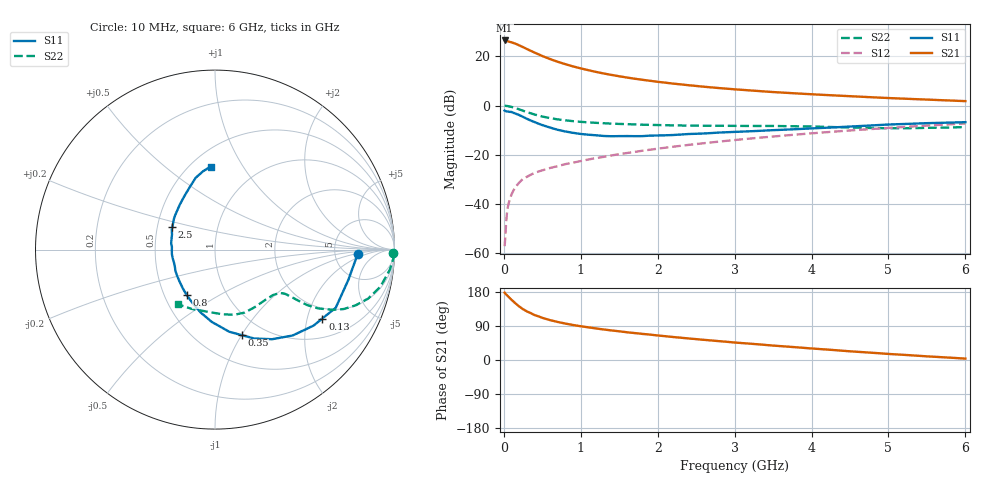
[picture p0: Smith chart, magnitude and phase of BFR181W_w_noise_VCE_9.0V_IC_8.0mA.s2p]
! Infineon Technologies  Discrete & RF Semiconductors
! BFR181W
! VCE =  9.0 V,  IC =  8.0 mA
! Common Emitter S-Parameters:  Jan 2017
# GHz  S  MA  R  50
!  f  S11  S21  S12  S22
! GHz  MAG  ANG  MAG  ANG  MAG  ANG  MAG  ANG
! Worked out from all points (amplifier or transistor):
!   77 points, 10 MHz to 6 GHz, reference 50 ohm
!   highest |S21| = 26.5 dB at 10 MHz (marker M1)
!   |S21| within 3 dB of that: start of sweep to 268.4 MHz
!   unconditionally stable (mu >= 1): 1.176 GHz to 3.174 GHz
!   at 130 MHz: K = 0.22, MSG = 29.8 dB, |S12| = -34.2 dB
!   at 2.2 GHz: K = 1.06, MAG = 11.3 dB, |S12| = -16.7 dB
!   at 6 GHz: K = 0.86, MSG = 4.5 dB, |S12| = -7.2 dB
!   lowest NFmin = 1.14 dB at 450 MHz
!   S11 on the Smith chart (normalised r, x): 10 MHz: 8.67, -1.12; 130 MHz: 1.60, -2.49; 350 MHz: 0.79, -1.00; 800 MHz: 0.65, -0.36; 2.5 GHz: 0.60, +0.16; 6 GHz: 0.62, +0.73
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0.01  0.7962 -1.7  21.14 177.6  0.0014 78.8  0.9946 -1.2
0.02  0.7777 -6.3  20.7 174.9  0.0022 96.0  0.9967 -2.4
0.05  0.7619 -12.8  20.35 169.0  0.0085 82.2  0.981 -6.5
0.1  0.7466 -25.7  19.42 158.8  0.0157 78.0  0.9448 -12.6
0.13  0.7107 -32.7  18.64 153.4  0.0196 74.5  0.9148 -15.6
0.15  0.6931 -37.7  18.21 149.6  0.0222 72.8  0.8963 -17.7
0.2  0.6451 -47.9  16.8 141.2  0.0274 69.3  0.8417 -21.7
0.25  0.592 -57.5  15.46 134.1  0.0329 65.7  0.7897 -24.8
0.3  0.5413 -66.2  14.15 128.1  0.0359 63.2  0.7396 -27.0
0.35  0.4991 -72.7  13.02 123.7  0.0396 62.1  0.7001 -28.3
0.4  0.4643 -80.2  11.98 118.5  0.0433 61.2  0.6609 -29.7
0.5  0.4035 -92.5  10.2 111.3  0.0486 60.0  0.6022 -31.0
0.6  0.3597 -102.8  8.869 105.3  0.0542 59.8  0.5595 -31.4
0.8  0.2991 -121.6  6.972 96.1  0.065 61.6  0.5036 -31.8
1.1  0.2573 -144.8  5.252 86.2  0.0808 63.4  0.4587 -32.4
1.6  0.2415 -174.2  3.731 73.2  0.1093 64.9  0.4221 -35.9
2.1  0.2503 164.7  2.933 62.8  0.1402 65.0  0.4012 -42.1
2.5  0.2689 152.2  2.516 55.1  0.1662 64.1  0.3927 -48.5
3.1  0.2975 136.7  2.096 44.6  0.2076 61.7  0.388 -58.4
4.1  0.351 117.7  1.675 29.0  0.282 55.8  0.3745 -75.5
5.1  0.4194 103.7  1.409 14.8  0.3613 48.1  0.348 -99.9
6  0.4628 93.1  1.238 3.7  0.435 40.0  0.3685 -124.3
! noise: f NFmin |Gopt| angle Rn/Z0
0.45  1.14  0.2  16  0.21
0.9  1.18  0.19  31  0.21
1.9  1.6  0.07  92  0.2
2.4  1.76  0.06  100  0.23
